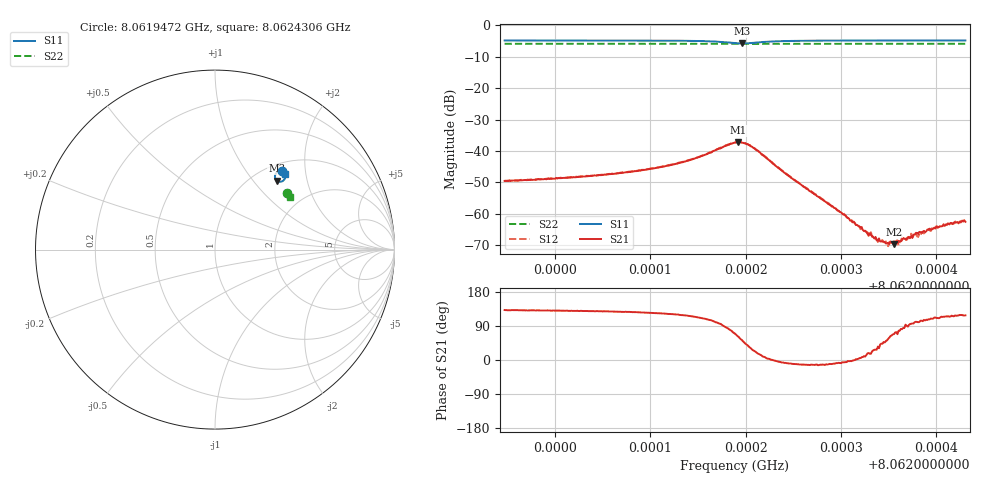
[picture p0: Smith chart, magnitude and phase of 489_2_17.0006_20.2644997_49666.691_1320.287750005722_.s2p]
#  HZ  S  RI  R  50.00
! Rohde & Schwarz Vector Network Analyzer
! Rohde-Schwarz,ZNB20-2Port,1311601062101988,3.16
! Created: UTC 3/20/2024, 11:14:00 PM
! freq[Hz]  re:S11  im:S11  re:S21  im:S21  re:S12  im:S12  re:S22  im:S22
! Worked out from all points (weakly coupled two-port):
!   401 points, 8.0619472 GHz to 8.0624306 GHz, reference 50 ohm
!   highest |S21| = -37.18 dB at 8.0621925 GHz (marker M1); lowest = -69.6 dB at 8.0623557 GHz (marker M2)
!   lowest |S11| = -5.7 dB at 8.0621961 GHz (marker M3), VSWR 3.13, Z = 63.5 + j66.6 ohm
!   |S11| at or under -10 dB: nowhere
!   |S22| runs from -5.9 to -5.8 dB; largest |S21 - S12| = 0.001
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8.06194716e9  0.3735 0.4385  -0.00223 0.00249  -0.00209 0.00265  0.4019 0.3146
8.06202813e9  0.3797 0.4324  -0.00249 0.00301  -0.00231 0.0032  0.405 0.3103
8.0620656e9  0.383 0.4289  -0.00268 0.0035  -0.00251 0.00369  0.4065 0.3085
8.06210911e9  0.3875 0.4221  -0.00303 0.00458  -0.00281 0.00476  0.408 0.3059
8.06214537e9  0.3912 0.4104  -0.00312 0.00682  -0.00274 0.00706  0.4092 0.3035
8.06218888e9  0.3609 0.378  0.00479 0.0128  0.00567 0.0124  0.4088 0.3006
8.0621925e9  0.3525 0.3798  0.00664 0.0121  0.00743 0.0118  0.4087 0.3006
8.06219613e9  0.3446 0.3843  0.00824 0.0108  0.00904 0.0103  0.4085 0.3009
8.06220217e9  0.3359 0.3962  0.00996 0.008  0.0107 0.00732  0.4084 0.3011
8.06221184e9  0.3354 0.4162  0.00976 0.00332  0.00993 0.00283  0.409 0.3016
8.06224084e9  0.3582 0.4352  0.00446 -0.000603  0.00448 -0.000874  0.4113 0.3008
8.06226985e9  0.3704 0.4348  0.00212 -0.000475  0.00215 -0.000598  0.4127 0.2991
8.06230248e9  0.3776 0.4323  0.000969 -0.000106  0.00101 -0.00018  0.4141 0.2974
8.06233632e9  0.3823 0.4295  0.000381 0.000197  0.000374 0.000161  0.4154 0.2955
8.06234841e9  0.3838 0.4287  0.000211 0.000272  0.000259 0.000248  0.4159 0.2949
8.06235083e9  0.384 0.4285  0.00017 0.000284  0.000203 0.000294  0.416 0.2947
8.06235566e9  0.3844 0.4282  0.000122 0.000307  0.000179 0.00032  0.4161 0.2944
8.06235929e9  0.3849 0.4279  0.000129 0.000323  9.38e-05 0.000368  0.4163 0.2944
8.06237621e9  0.3865 0.4268  -5.23e-05 0.000463  -2.85e-05 0.000451  0.4168 0.2933
8.06238104e9  0.3868 0.4265  -8.17e-05 0.000472  -7.62e-05 0.000424  0.4172 0.2932
8.0624028e9  0.3886 0.425  -0.000217 0.000584  -0.000185 0.00059  0.4178 0.2921
8.0624306e9  0.391 0.4233  -0.000349 0.000662  -0.000334 0.000731  0.4187 0.2906
